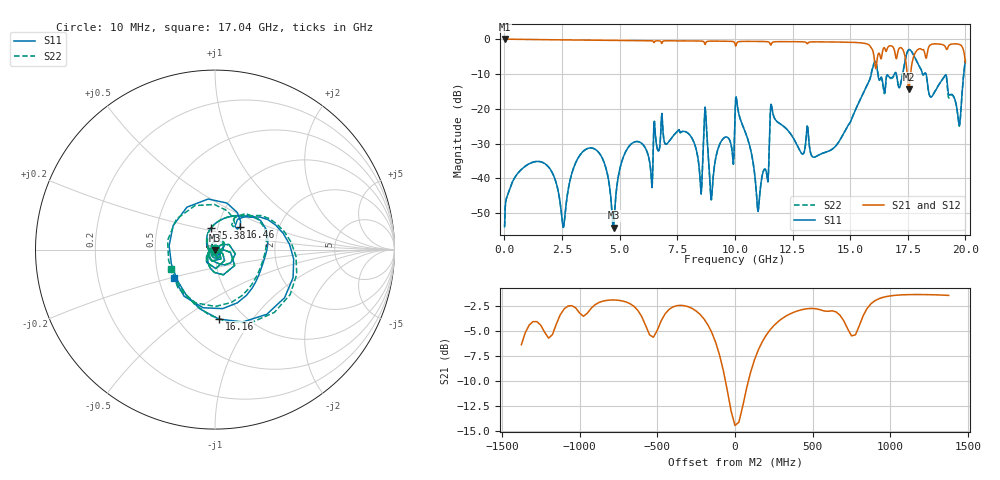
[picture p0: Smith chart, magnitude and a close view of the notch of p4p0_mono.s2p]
! Stitch-density study - 40 x 12 mm symmetric stripline, cut at x=20 mm
! Case: p4p0_mono
! Sweep: 10 MHz - 20 GHz, 25 MHz step, 4 cores
# GHz S MA R 50.000000
! Terminal data exported
! Port[1] = U1.PAD1.SIG
! Port[2] = U2.PAD1.SIG
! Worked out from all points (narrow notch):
!   801 points, 10 MHz to 20 GHz, reference 50 ohm
!   highest |S21| = -0.02 dB at 10 MHz (marker M1); lowest = -14.4 dB at 17.54 GHz (marker M2)
!   notch at M2: 13.7 dB deep, 231 MHz wide at half that depth
!   lowest |S11| = -54.1 dB at 4.735 GHz (marker M3), VSWR 1.00, Z = 50.1 - j0.174 ohm
!   |S11| at or under -10 dB: start of sweep to 15.92 GHz; 16.2 GHz to 16.92 GHz (724.7 MHz wide, 4.38 % of centre); 18.29 GHz to 19.93 GHz (1.638 GHz wide, 8.57 % of centre)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
!   |S22| runs from -54.1 to -3.0 dB; largest |S21 - S12| = 0
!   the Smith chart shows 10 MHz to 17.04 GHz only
!   S11 on the Smith chart (normalised r, x): 10 MHz: 1.00, +0.00; 15.38 GHz: 0.93, +0.23; 16.16 GHz: 0.77, -0.70; 16.46 GHz: 1.28, +0.33; 17.04 GHz: 0.60, -0.20
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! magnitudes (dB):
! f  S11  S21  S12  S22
! 10 MHz  -53.9  0.0  0.0  -53.9
! 1.485 GHz  -35.1  -0.2  -0.2  -35.1
! 2.56 GHz  -54.1  -0.2  -0.2  -54.1
! 3.36 GHz  -32.6  -0.3  -0.3  -32.6
! 4.735 GHz  -54.1  -0.4  -0.4  -54.1
! 5.36 GHz  -31.2  -0.4  -0.4  -31.2
! 6.685 GHz  -32.2  -0.5  -0.5  -32.2
! 8.51 GHz  -42.3  -0.6  -0.6  -42.3
! 8.735 GHz  -21.4  -1.2  -1.2  -21.4
! 8.985 GHz  -46.1  -0.6  -0.6  -46.2
! 10.01 GHz  -21.1  -1.5  -1.5  -21.1
! 11.01 GHz  -49.5  -0.7  -0.7  -49.4
! 11.63 GHz  -20.9  -0.9  -0.9  -20.9
! 13.36 GHz  -33.8  -0.8  -0.8  -33.8
! 15.38 GHz  -18.1  -1.0  -1.0  -18.1
! 16.16 GHz  -8.2  -6.4  -6.4  -7.7
! 16.46 GHz  -14.5  -2.5  -2.5  -14.9
! 16.68 GHz  -10.8  -2.0  -2.0  -11.0
! 17.04 GHz  -11.1  -4.9  -4.9  -11.4
! 17.54 GHz  -3.2  -14.4  -14.4  -3.1
! 19.71 GHz  -23.9  -1.5  -1.5  -24.1
! 20 GHz  -6.2  -6.8  -6.8  -6.2
